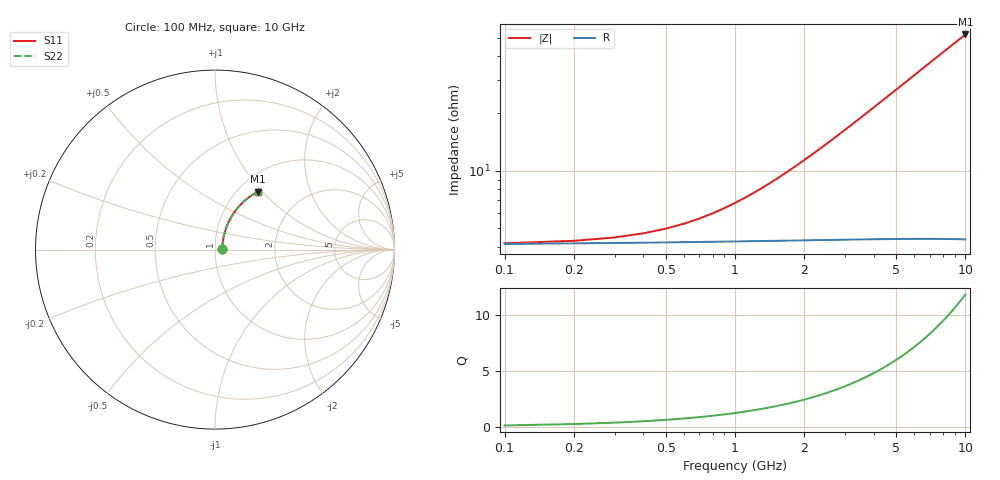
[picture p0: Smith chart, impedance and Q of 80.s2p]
# Hz S RI R 50.00
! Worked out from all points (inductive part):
!   100 points, 100 MHz to 10 GHz, reference 50 ohm
!   read as one part in series: L = 839 pH near 2.5 GHz
!   highest Q = 11.8 at 10 GHz (marker M1), where L = 824 pH
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1e8  0.0398 0.00423  0.9602 -0.00551  0.9602 -0.00551  0.0398 0.00423
2e8  0.0401 0.00845  0.9599 -0.011  0.9599 -0.011  0.0401 0.00845
3e8  0.0404 0.0127  0.9596 -0.0165  0.9596 -0.0165  0.0404 0.0127
5e8  0.0411 0.0211  0.9589 -0.0275  0.9589 -0.0275  0.0411 0.0211
7e8  0.0418 0.0295  0.9581 -0.0385  0.9581 -0.0385  0.0418 0.0295
1.3e9  0.0452 0.0545  0.9546 -0.0713  0.9546 -0.0713  0.0452 0.0545
1.6e9  0.0475 0.0669  0.9523 -0.0875  0.9523 -0.0875  0.0475 0.0669
1.8e9  0.0492 0.0751  0.9505 -0.0983  0.9505 -0.0983  0.0492 0.0751
2.1e9  0.0521 0.0873  0.9475 -0.1143  0.9475 -0.1143  0.0521 0.0873
2.5e9  0.0566 0.1033  0.9428 -0.1356  0.9428 -0.1356  0.0566 0.1033
2.9e9  0.0618 0.1191  0.9374 -0.1565  0.9374 -0.1565  0.0618 0.1191
3.4e9  0.0693 0.1384  0.9297 -0.1822  0.9297 -0.1822  0.0693 0.1384
3.8e9  0.0759 0.1534  0.9228 -0.2024  0.9228 -0.2024  0.0759 0.1534
4.2e9  0.0832 0.168  0.9152 -0.2222  0.9152 -0.2222  0.0832 0.168
4.6e9  0.0911 0.1822  0.907 -0.2415  0.907 -0.2415  0.0911 0.1822
5.1e9  0.1017 0.1992  0.896 -0.2651  0.896 -0.2651  0.1017 0.1992
5.9e9  0.1204 0.225  0.8766 -0.3012  0.8766 -0.3012  0.1204 0.225
6.7e9  0.1409 0.2486  0.8552 -0.3353  0.8552 -0.3353  0.1409 0.2486
7.5e9  0.1629 0.2701  0.8322 -0.3672  0.8322 -0.3672  0.1629 0.2701
8.4e9  0.1891 0.2915  0.8047 -0.4004  0.8047 -0.4004  0.1891 0.2915
9.2e9  0.2135 0.308  0.7791 -0.4275  0.7791 -0.4275  0.2135 0.308
1e10  0.2385 0.3223  0.7528 -0.4523  0.7528 -0.4523  0.2385 0.3223
